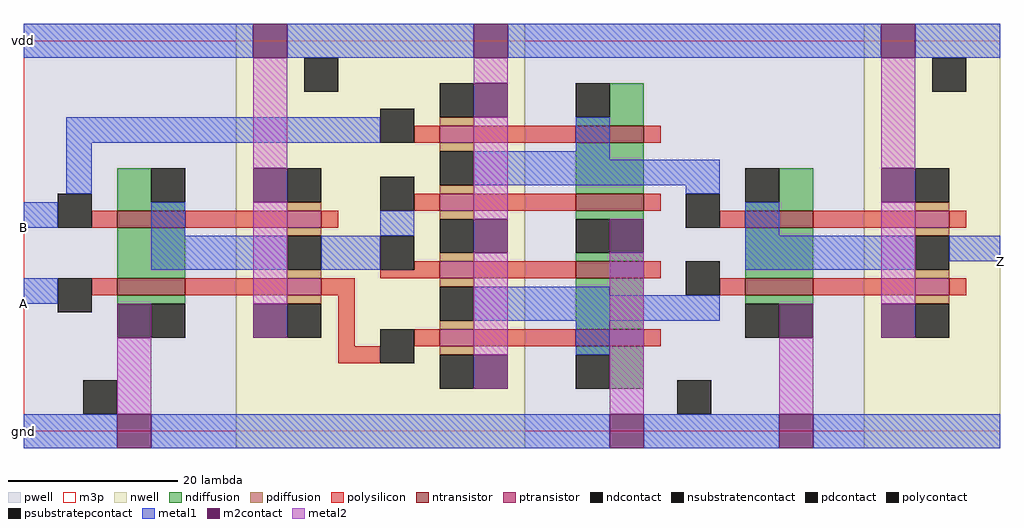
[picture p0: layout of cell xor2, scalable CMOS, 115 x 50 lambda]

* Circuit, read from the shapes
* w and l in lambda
.subckt xor2 A B Z gnd vdd
M1 n1 A gnd gnd nfet w=8 l=2
M2 n2 B n1 gnd nfet w=8 l=2
M3 n3 A n4 gnd nfet w=8 l=2
M4 gnd n2 n3 gnd nfet w=8 l=2
M5 n5 n2 gnd gnd nfet w=8 l=2
M6 n6 B n5 gnd nfet w=8 l=2
M7 n7 n4 gnd gnd nfet w=8 l=2
M8 Z n6 n7 gnd nfet w=8 l=2
M9 n2 A vdd vdd pfet w=4 l=2
M10 vdd B n2 vdd pfet w=4 l=2
M11 n4 A vdd vdd pfet w=4 l=2
M12 vdd n2 n4 vdd pfet w=4 l=2
M13 n6 n2 vdd vdd pfet w=4 l=2
M14 vdd B n6 vdd pfet w=4 l=2
M15 Z n4 vdd vdd pfet w=4 l=2
M16 vdd n6 Z vdd pfet w=4 l=2
.ends

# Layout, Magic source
magic
tech scmos
<< nwell >>
rect 25 -2 59 48
rect 99 -2 115 48
<< pwell >>
rect 0 -2 25 48
rect 59 -2 99 48
<< ntransistor >>
rect 65 34 73 36
rect 65 26 73 28
rect 11 24 19 26
rect 85 24 93 26
rect 65 18 73 20
rect 11 16 19 18
rect 85 16 93 18
rect 65 10 73 12
<< ptransistor >>
rect 49 34 53 36
rect 49 26 53 28
rect 31 24 35 26
rect 105 24 109 26
rect 49 18 53 20
rect 31 16 35 18
rect 105 16 109 18
rect 49 10 53 12
<< ndiffusion >>
rect 69 37 73 41
rect 65 36 73 37
rect 11 27 15 31
rect 11 26 19 27
rect 65 28 73 34
rect 11 18 19 24
rect 65 25 73 26
rect 69 21 73 25
rect 89 27 93 31
rect 85 26 93 27
rect 65 20 73 21
rect 11 15 19 16
rect 11 11 15 15
rect 65 12 73 18
rect 85 18 93 24
rect 85 15 93 16
rect 89 11 93 15
rect 65 9 73 10
rect 69 5 73 9
<< pdiffusion >>
rect 49 36 53 37
rect 49 33 53 34
rect 31 26 35 27
rect 49 28 53 29
rect 49 25 53 26
rect 31 23 35 24
rect 31 18 35 19
rect 49 20 53 21
rect 105 26 109 27
rect 31 15 35 16
rect 49 17 53 18
rect 49 12 53 13
rect 105 23 109 24
rect 105 18 109 19
rect 105 15 109 16
rect 49 9 53 10
<< ndcontact >>
rect 65 37 69 41
rect 15 27 19 31
rect 65 21 69 25
rect 85 27 89 31
rect 15 11 19 15
rect 85 11 89 15
rect 65 5 69 9
<< pdcontact >>
rect 49 37 53 41
rect 31 27 35 31
rect 49 29 53 33
rect 31 19 35 23
rect 49 21 53 25
rect 105 27 109 31
rect 31 11 35 15
rect 49 13 53 17
rect 105 19 109 23
rect 105 11 109 15
rect 49 5 53 9
<< psubstratepcontact >>
rect 7 2 11 6
rect 77 2 81 6
<< nsubstratencontact >>
rect 33 40 37 44
rect 107 40 111 44
<< polysilicon >>
rect 46 34 49 36
rect 53 34 65 36
rect 73 34 75 36
rect 46 26 49 28
rect 53 26 65 28
rect 73 26 75 28
rect 8 24 11 26
rect 19 24 31 26
rect 35 24 37 26
rect 82 24 85 26
rect 93 24 105 26
rect 109 24 111 26
rect 46 19 49 20
rect 42 18 49 19
rect 53 18 65 20
rect 73 18 75 20
rect 8 16 11 18
rect 19 16 31 18
rect 35 16 39 18
rect 37 10 39 16
rect 82 16 85 18
rect 93 16 105 18
rect 109 16 111 18
rect 37 8 42 10
rect 46 10 49 12
rect 53 10 65 12
rect 73 10 75 12
<< polycontact >>
rect 42 34 46 38
rect 4 24 8 28
rect 42 26 46 30
rect 42 19 46 23
rect 78 24 82 28
rect 4 14 8 18
rect 78 16 82 20
rect 42 8 46 12
<< metal1 >>
rect 0 44 27 48
rect 31 44 53 48
rect 57 44 101 48
rect 105 44 115 48
rect 5 34 42 37
rect 5 28 8 34
rect 65 33 69 37
rect 0 24 4 27
rect 15 23 19 27
rect 53 32 69 33
rect 53 29 82 32
rect 42 23 46 26
rect 78 28 82 29
rect 15 19 31 23
rect 35 19 42 23
rect 85 23 89 27
rect 0 15 4 18
rect 53 16 69 17
rect 85 19 105 23
rect 109 20 115 23
rect 53 13 82 16
rect 65 9 69 13
rect 0 -2 11 2
rect 15 -2 69 2
rect 73 -2 89 2
rect 93 -2 115 2
<< m2contact >>
rect 27 44 31 48
rect 53 44 57 48
rect 101 44 105 48
rect 53 37 57 41
rect 27 27 31 31
rect 53 21 57 25
rect 69 21 73 25
rect 101 27 105 31
rect 11 11 15 15
rect 27 11 31 15
rect 89 11 93 15
rect 101 11 105 15
rect 53 5 57 9
rect 11 -2 15 2
rect 69 -2 73 2
rect 89 -2 93 2
<< metal2 >>
rect 27 31 31 44
rect 27 15 31 27
rect 53 41 57 44
rect 53 25 57 37
rect 101 31 105 44
rect 11 2 15 11
rect 53 9 57 21
rect 69 2 73 21
rect 101 15 105 27
rect 89 2 93 11
<< m3p >>
rect 0 0 115 46
<< labels >>
rlabel metal1 115 20 115 20 7 Z
rlabel metal1 0 0 0 0 2 gnd
rlabel metal1 0 46 0 46 4 vdd
rlabel metal1 0 24 0 24 3 B
rlabel metal1 0 15 0 15 3 A
<< end >>
